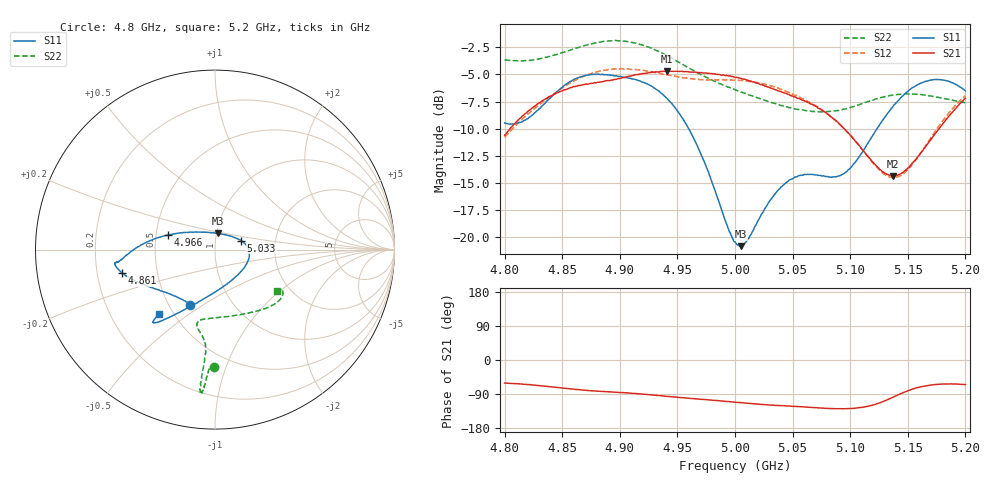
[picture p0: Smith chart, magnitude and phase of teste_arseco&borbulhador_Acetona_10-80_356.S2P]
! Network Analyzer HP8722D
! Hewlett-Packard
! Data name: Linha & Wilkinson
! Saver's name: Rodrigo Anjos
! Comments: Teste da utilização de aquisição
! continua pelo VNA HP8722D
! Time and date: 17/4/2025 17:19
!  Frequency  S11  S21  S12  S22
# HZ  S  MA R 50
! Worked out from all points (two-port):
!   401 points, 4.8 GHz to 5.2 GHz, reference 50 ohm
!   highest |S21| = -4.70 dB at 4.941 GHz (marker M1); lowest = -14.4 dB at 5.137 GHz (marker M2)
!   |S21| within 3 dB of the highest: 4.829 GHz to 5.065 GHz (236.1 MHz wide, 4.77 % of centre); 5.195199 GHz to end of sweep
!   lowest |S11| = -20.8 dB at 5.005 GHz (marker M3), VSWR 1.20, Z = 50.7 + j9.18 ohm
!   |S11| at or under -10 dB: 4.96 GHz to 5.123 GHz (163.5 MHz wide, 3.24 % of centre)
!   |S22| runs from -8.5 to -1.9 dB; largest |S21 - S12| = 0.87
!   S11 on the Smith chart (normalised r, x): 4.8 GHz: 0.64, -0.44; 4.861 GHz: 0.31, -0.11; 4.966 GHz: 0.58, +0.10; 5.033 GHz: 1.33, +0.14; 5.2 GHz: 0.42, -0.39
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4.8e9  0.3357 -114.2  0.295 -60.9  0.2885 -175.1  0.6561 -90.3
4.819e9  0.3497 -134.0  0.3746 -64.6  0.364 -174.0  0.6514 -91.9
4.861e9  0.5348 -166.0  0.4934 -77.4  0.5269 -177.3  0.7381 -94.1
4.867e9  0.5498 -168.3  0.5015 -79.1  0.546 -178.5  0.7569 -94.2
4.899e9  0.5497 -172.7  0.5378 -85.7  0.5961 175.0  0.8024 -95.7
4.934e9  0.4708 -178.5  0.5776 -93.9  0.5715 171.5  0.7144 -96.1
4.941e9  0.4355 178.4  0.5821 -95.9  0.5605 171.5  0.6846 -95.8
4.966e9  0.2728 162.7  0.5744 -102.3  0.5337 173.5  0.5778 -95.1
5e9  0.0954 99.0  0.5443 -111.5  0.5299 175.8  0.4782 -99.2
5.005e9  0.09106 80.5  0.5396 -112.9  0.5274 175.7  0.4655 -100.4
5.012e9  0.099 57.0  0.5255 -114.6  0.5226 175.5  0.4524 -101.8
5.033e9  0.1542 18.8  0.483 -119.0  0.4937 174.5  0.4152 -103.3
5.049e9  0.1851 2.7  0.448 -122.0  0.4597 173.8  0.3942 -99.7
5.067e9  0.1946 -16.7  0.4096 -125.2  0.4115 173.4  0.3791 -90.1
5.096e9  0.1994 -67.3  0.3107 -128.6  0.311 174.5  0.3902 -67.5
5.123e9  0.3147 -108.8  0.2122 -115.8  0.2109 -170.3  0.4342 -48.5
5.134e9  0.3811 -117.6  0.1932 -102.4  0.1898 -155.5  0.4484 -43.0
5.137e9  0.3989 -119.4  0.1916 -98.5  0.1887 -150.7  0.4514 -41.7
5.15e9  0.4692 -125.1  0.2077 -81.4  0.2049 -131.0  0.4569 -36.9
5.17e9  0.5294 -129.6  0.2813 -66.0  0.2867 -112.2  0.447 -32.2
5.184e9  0.5246 -130.8  0.3526 -63.2  0.3642 -107.4  0.4329 -31.3
5.2e9  0.4719 -131.0  0.436 -64.9  0.4485 -106.9  0.4156 -33.6
